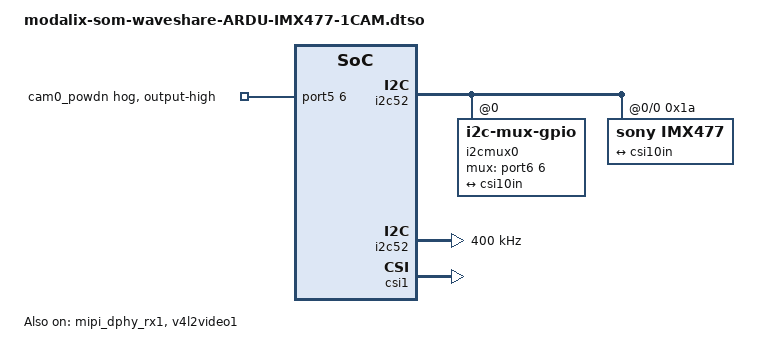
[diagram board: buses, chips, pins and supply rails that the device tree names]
// SPDX-License-Identifier: (GPL-2.0+ OR MIT)
/*
 * Copyright (c) 2026 SiMa ai
 */

/dts-v1/;
/plugin/;

&{/} {
        xclk10: xclk10 {
                status = "okay";
                compatible = "fixed-clock";
                #clock-cells = <0>;
                clock-frequency = <24000000>;
        };

        i2cmux0: i2cmux@0 {
                compatible = "i2c-mux-gpio";
                i2c-parent = <&i2c52>;
                #address-cells = <1>;
                #size-cells = <0>;
                /* Set port6 gpio6 to GPIO_ACTIVE_LOW mode */
                mux-gpios = <&port6 6 0>;
                i2cmux0p0: i2c@0 {
                    reg = <0>;
                    #address-cells = <1>;
                    #size-cells = <0>;
                };
        };
};

&port5 {
        cam-hog0 {
                gpio-hog;
                /* Set port5 gpio6 to GPIO_ACTIVE_HIGH mode */
                gpios = <6 0>;
                output-high;
                line-name = "cam0_powdn";
        };
};

&i2c52 {
    status = "okay";
    clock-frequency = <400000>;
    #address-cells = <1>;
    #size-cells = <0>;
};

&csi1 {
    status = "okay";
};

&axi_vdma1 {
    status = "okay";
};

&mipi_dphy_rx1 {
    status = "okay";
};

&v4l2video1 {
    status = "okay";
};

&v4l2vdma1 {
    status = "okay";
};

&csi10in {
    clock-lanes = <0>;
    data-lanes = <1 2>;
    link-frequencies = /bits/ 64 <450000000>;
    remote-endpoint = <&cam10out>;
    clock-continuous;
};

&i2cmux0p0 {
        imx477: imx477@1a {
                compatible = "sony,imx477";
                reg = <0x1a>;

                clocks = <&xclk10>;
                clock-names = "xclk";

                port@1 {
                        cam10out: endpoint@0 {
                                clock-lanes = <0>;
                                data-lanes = <1 2>;
                                link-frequencies = /bits/ 64 <450000000>;
                                remote-endpoint = <&csi10in>;
                                clock-continuous;
                        };
                };
        };
};
